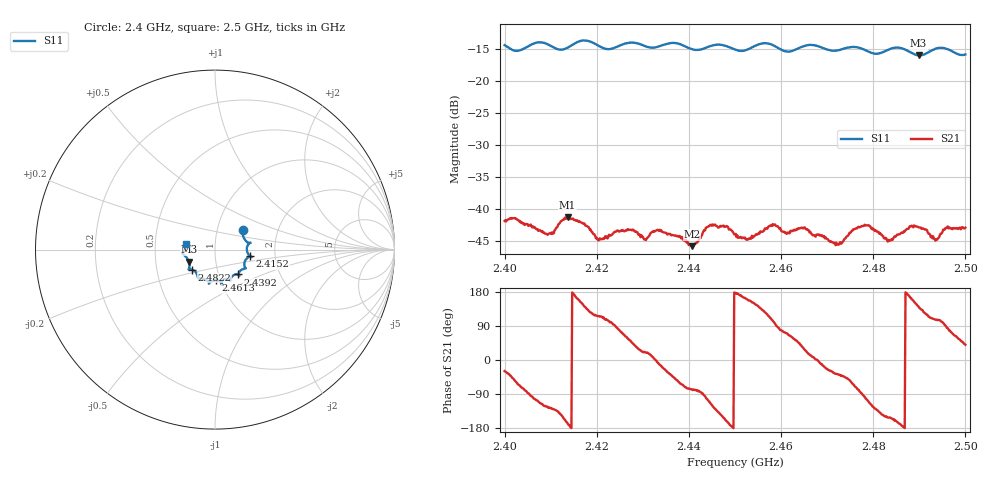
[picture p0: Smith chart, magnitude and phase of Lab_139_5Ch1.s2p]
# Hz S RI R 50
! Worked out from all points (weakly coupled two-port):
!   601 points, 2.4 GHz to 2.5 GHz, reference 50 ohm
!   highest |S21| = -41.26 dB at 2.4137 GHz (marker M1); lowest = -45.8 dB at 2.4407 GHz (marker M2)
!   lowest |S11| = -15.9 dB at 2.4898 GHz (marker M3), VSWR 1.38, Z = 37 - j5.04 ohm
!   |S11| at or under -10 dB: start of sweep to end of sweep
!   S12 and S22 are empty: the file has one direction only
!   S11 on the Smith chart (normalised r, x): 2.4 GHz: 1.33, +0.31; 2.4152 GHz: 1.48, -0.11; 2.4392 GHz: 1.24, -0.35; 2.4613 GHz: 0.96, -0.34; 2.4822 GHz: 0.76, -0.17; 2.5 GHz: 0.72, +0.05
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2.4e9  0.1567 0.1115  0.00708 -0.00397  0 0  0 0
2.409333e9  0.1922 0.0362  -0.00351 -0.00525  0 0  0 0
2.413667e9  0.1824 -0.0201  -0.00844 -0.00187  0 0  0 0
2.415167e9  0.1944 -0.0364  -0.00819 0.00125  0 0  0 0
2.416667e9  0.2039 -0.0421  -0.00689 0.00381  0 0  0 0
2.420667e9  0.1821 -0.0453  -0.00244 0.00541  0 0  0 0
2.433333e9  0.1328 -0.1319  0.00684 -0.000918  0 0  0 0
2.439167e9  0.1274 -0.1383  0.0018 -0.00534  0 0  0 0
2.440667e9  0.1131 -0.1383  0.00104 -0.00504  0 0  0 0
2.444667e9  0.0849 -0.1689  -0.00311 -0.0069  0 0  0 0
2.45e9  0.0687 -0.164  -0.00638 0.000271  0 0  0 0
2.453e9  0.0386 -0.1752  -0.00544 0.00232  0 0  0 0
2.458167e9  0.0385 -0.1888  -0.00183 0.00744  0 0  0 0
2.461333e9  0.00733 -0.1709  0.0022 0.00608  0 0  0 0
2.466667e9  -0.0337 -0.19  0.0063 0.00108  0 0  0 0
2.472667e9  -0.0735 -0.1598  0.00422 -0.0034  0 0  0 0
2.4785e9  -0.0984 -0.1435  -0.00166 -0.0073  0 0  0 0
2.482167e9  -0.1279 -0.1117  -0.00505 -0.00348  0 0  0 0
2.483333e9  -0.1391 -0.1102  -0.00508 -0.00272  0 0  0 0
2.489833e9  -0.1455 -0.0664  -0.00563 0.00453  0 0  0 0
2.493667e9  -0.1794 -0.025  -0.00156 0.0056  0 0  0 0
2.5e9  -0.159 0.0332  0.0055 0.00464  0 0  0 0
